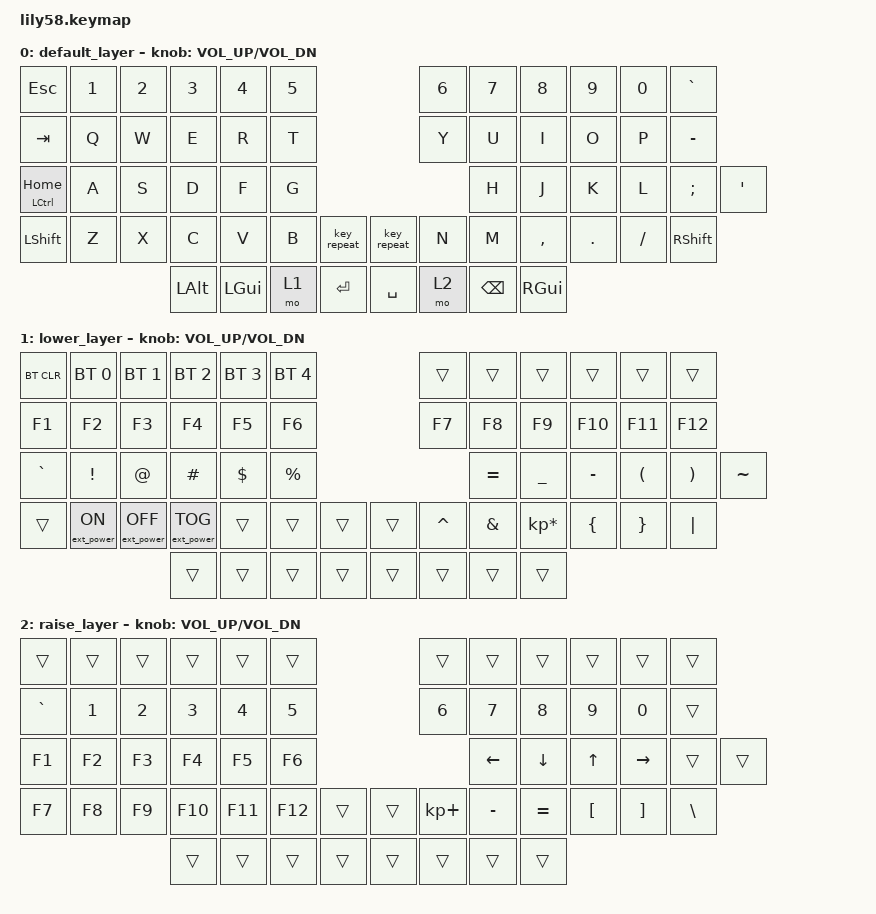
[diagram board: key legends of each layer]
/*
 * Copyright (c) 2020 The ZMK Contributors
 *
 * SPDX-License-Identifier: MIT
 */

#include <behaviors.dtsi>
#include <dt-bindings/zmk/keys.h>
#include <dt-bindings/zmk/bt.h>
#include <dt-bindings/zmk/ext_power.h>

/ {
    behaviors {
        hm: homerow_mods {
            compatible = "zmk,behavior-hold-tap";
            label = "HOMEROW_MODS";
            #binding-cells = <2>;
            tapping-term-ms = <150>;
            quick-tap-ms = <0>;
            flavor = "tap-preferred";
            bindings = <&kp>, <&kp>;
        };
    };

	keymap {
		compatible = "zmk,keymap";

		default_layer {
// ------------------------------------------------------------------------------------------------------------
// |  ESC        |  1  |  2  |  3   |  4   |  5   |                   |  6   |  7    |  8    |  9   |   0   |   `   |
// |  TAB        |  Q  |  W  |  E   |  R   |  T   |                   |  Y   |  U    |  I    |  O   |   P   |   -   |
// |  HOME tap, CTRL |  A  |  S  |  D   |  F   |  G   |                   |  H   |  J    |  K    |  L   |   ;   |   '   |
// |  SHIFT      |  Z  |  X  |  C   |  V   |  B   |   "["  |  |  "]"  |  N   |  M    |  ,    |  .   |   /   | SHIFT |
//                     | ALT  | GUI  | LOWER|   ENTER |  | SPACE | RAISE| BSPC | GUI   |
			bindings = <
&kp ESC   &kp N1 &kp N2 &kp N3   &kp N4   &kp N5                            &kp N6 &kp N7   &kp N8    &kp N9  &kp N0   &kp GRAVE
&kp TAB   &kp Q  &kp W  &kp E    &kp R    &kp T                             &kp Y  &kp U    &kp I     &kp O   &kp P    &kp MINUS
&hm LCTRL HOME &kp A  &kp S  &kp D    &kp F    &kp G                             &kp H  &kp J    &kp K     &kp L   &kp SEMI &kp SQT
&kp LSHFT &kp Z  &kp X  &kp C    &kp V    &kp B   &key_repeat &key_repeat   &kp N  &kp M    &kp COMMA &kp DOT &kp FSLH &kp RSHFT
                        &kp LALT &kp LGUI &mo 1   &kp RET		 &kp SPACE  &mo 2  &kp BSPC  &kp RGUI
			>;

			sensor-bindings = <&inc_dec_kp C_VOL_UP C_VOL_DN>;
		};

		lower_layer {
// ------------------------------------------------------------------------------------------------------------
// | BTCLR | BT1 | BT2 |  BT3 |  BT4 |  BT5 |                   |      |       |       |      |       |       |
// |  F1   |  F2 |  F3 |  F4  |  F5  |  F6  |                   |  F7  |  F8   |  F9   |  F10 |  F11  |  F12  |
// |   `   |  !  |  @  |  #   |  $   |  %   |                   |  =   |   _   |  -    |  (   |   )   |   ~   |
// |       |     |     |      |      |      |        |  |       |  ^   |   &   |  *    |  {   |   }   |  "|"  |
//                     |      |      |      |        |  |       |      |       |       |
			bindings = <
&bt BT_CLR &bt BT_SEL 0     &bt BT_SEL 1      &bt BT_SEL 2      &bt BT_SEL 3 &bt BT_SEL 4                 &trans    &trans    &trans          &trans    &trans    &trans
&kp F1     &kp F2           &kp F3            &kp F4            &kp F5       &kp F6                       &kp F7    &kp F8    &kp F9          &kp F10   &kp F11   &kp F12
&kp GRAVE  &kp EXCL         &kp AT            &kp HASH          &kp DOLLAR   &kp PRCNT                    &kp EQUAL &kp UNDERSCORE &kp MINUS  &kp LPAR  &kp RPAR  &kp TILDE
&trans     &ext_power EP_ON &ext_power EP_OFF &ext_power EP_TOG &trans       &trans    &trans   &trans    &kp CARET &kp AMPS  &kp KP_MULTIPLY &kp LBRC  &kp RBRC  &kp PIPE
                                              &trans            &trans       &trans    &trans   &trans    &trans    &trans    &trans
			>;

			sensor-bindings = <&inc_dec_kp C_VOL_UP C_VOL_DN>;
		};

		raise_layer {
// ------------------------------------------------------------------------------------------------------------
// |       |     |     |      |      |      |                   |      |       |       |      |       |       |
// |   `   |  1  |  2  |  3   |  4   |  5   |                   |  6   |   7   |   8   |  9   |   0   |       |
// |   F1  |  F2 |  F3 |  F4  |  F5  |  F6  |                   |  <-  |   v   |   ^   |  ->  |       |       |
// |   F7  |  F8 |  F9 |  F10 |  F11 |  F12 |        |  |       |  +   |   -   |   =   |  [   |   ]   |   \   |
//                     |      |      |      |        |  |       |      |       |       |
			bindings = <
&trans    &trans &trans &trans  &trans  &trans                       &trans      &trans    &trans    &trans   &trans    &trans
&kp GRAVE &kp N1 &kp N2 &kp N3  &kp N4  &kp N5                       &kp N6      &kp N7    &kp N8    &kp N9   &kp N0    &trans
&kp F1    &kp F2 &kp F3 &kp F4  &kp F5  &kp F6                       &kp LEFT    &kp DOWN  &kp UP    &kp RIGHT &trans   &trans
&kp F7    &kp F8 &kp F9 &kp F10 &kp F11 &kp F12   &trans   &trans    &kp KP_PLUS &kp MINUS &kp EQUAL &kp LBKT &kp RBKT  &kp BSLH
                        &trans  &trans  &trans    &trans   &trans    &trans      &trans    &trans
			>;

			sensor-bindings = <&inc_dec_kp C_VOL_UP C_VOL_DN>;
		};
	};
};
